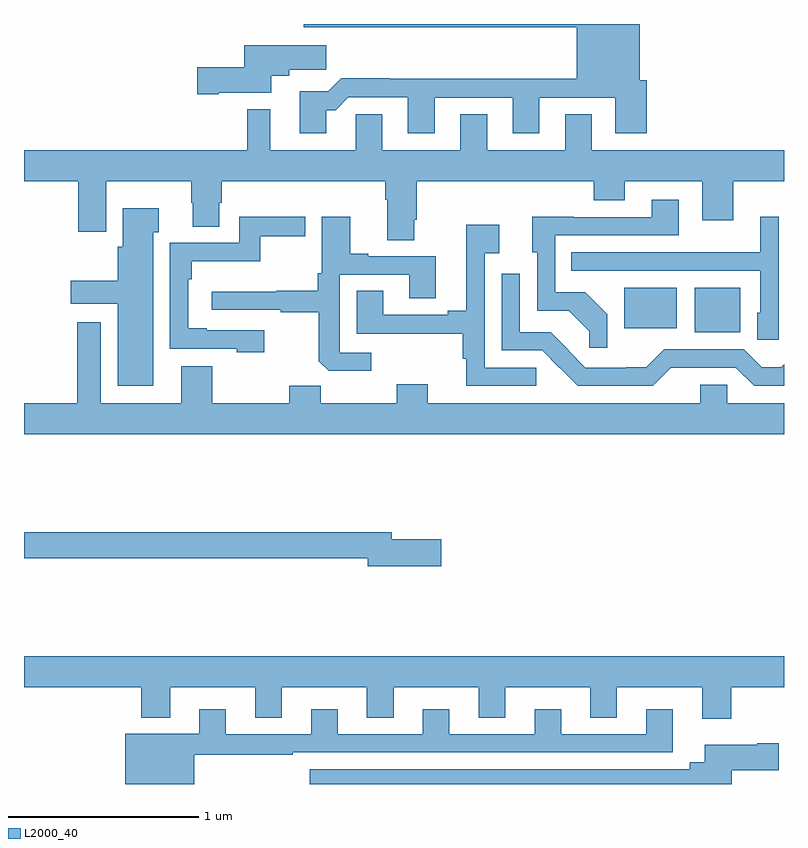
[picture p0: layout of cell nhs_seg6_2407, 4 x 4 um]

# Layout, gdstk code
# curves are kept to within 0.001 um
import gdstk
lib = gdstk.Library(unit=1e-6, precision=1e-09)
def R(c, l, rs):  # rectangles x0, y0, x1, y1
    for r in rs: c.add(gdstk.rectangle(r[:2], r[2:], *l))
def P(c, l, *ps):  # polygons
    for p in ps: c.add(gdstk.Polygon(p, *l))
L2000_40 = (2000, 40)

nhs_seg6_2407 = lib.new_cell('nhs_seg6_2407')
R(nhs_seg6_2407, L2000_40, [(258.53,943.877,258.769,944.113), (258.158,943.898,258.436,944.113)])
P(nhs_seg6_2407, L2000_40, [(256.591,945.047),(256.64,945.047),(256.707,945.114),(257.021,945.114),(257.021,944.925),(257.161,944.925),(257.161,945.111),(257.573,945.111),(257.573,944.925),(257.713,944.925),(257.713,945.111),(258.113,945.111),(258.113,944.925),(258.278,944.925),(258.278,945.204),(258.241,945.204),(258.241,945.5),(256.472,945.5),(256.472,945.482),(257.909,945.482),(257.909,945.212),(256.925,945.212),(256.925,945.215),(256.67,945.215),(256.6,945.145),(256.451,945.145),(256.451,944.925),(256.591,944.925)],
  [(256.024,945.137),(256.3,945.137),(256.3,945.227),(256.396,945.227),(256.396,945.259),(256.591,945.259),(256.591,945.388),(256.16,945.388),(256.16,945.272),(255.912,945.272),(255.912,945.13),(256.024,945.13)],
  [(257.999,944.573),(258.163,944.573),(258.163,944.672),(258.569,944.672),(258.569,944.466),(258.733,944.466),(258.733,944.672),(259,944.672),(259,944.836),(257.989,944.836),(257.989,945.026),(257.849,945.026),(257.849,944.836),(257.437,944.836),(257.437,945.026),(257.297,945.026),(257.297,944.836),(256.885,944.836),(256.885,945.026),(256.746,945.026),(256.746,944.836),(256.297,944.836),(256.297,945.052),(256.176,945.052),(256.176,944.836),(255,944.836),(255,944.672),(255.286,944.672),(255.286,944.406),(255.433,944.406),(255.433,944.672),(255.88,944.672),(255.88,944.559),(255.887,944.559),(255.887,944.434),(256.027,944.434),(256.027,944.559),(256.04,944.559),(256.04,944.672),(256.901,944.672),(256.901,944.576),(256.913,944.576),(256.913,944.362),(257.053,944.362),(257.053,944.47),(257.066,944.47),(257.066,944.672),(257.999,944.672)],
  [(258.069,943.972),(257.953,944.088),(257.796,944.088),(257.796,944.388),(258.445,944.388),(258.445,944.575),(258.305,944.575),(258.305,944.484),(257.893,944.484),(257.893,944.486),(257.675,944.486),(257.675,944.298),(257.7,944.298),(257.7,943.992),(257.866,943.992),(257.974,943.884),(257.974,943.797),(258.069,943.797)],
  [(255.679,944.405),(255.709,944.405),(255.709,944.53),(255.521,944.53),(255.521,944.328),(255.494,944.328),(255.494,944.149),(255.246,944.149),(255.246,944.027),(255.494,944.027),(255.494,943.595),(255.679,943.595)],
  [(256.264,943.887),(255.961,943.887),(255.961,943.9),(255.864,943.9),(255.864,944.156),(255.884,944.156),(255.884,944.252),(256.243,944.252),(256.243,944.383),(256.48,944.383),(256.48,944.486),(256.134,944.486),(256.134,944.349),(255.768,944.349),(255.768,943.791),(256.119,943.791),(256.119,943.772),(256.264,943.772)],
  [(258.972,944.485),(258.875,944.485),(258.875,944.299),(258.541,944.299),(258.541,944.298),(257.881,944.298),(257.881,944.202),(258.876,944.202),(258.876,943.98),(258.86,943.98),(258.86,943.837),(258.972,943.837)],
  [(256.828,943.77),(256.662,943.77),(256.662,944.181),(257.027,944.181),(257.027,944.056),(257.167,944.056),(257.167,944.277),(256.813,944.277),(256.813,944.29),(256.717,944.29),(256.717,944.485),(256.566,944.485),(256.566,944.188),(256.546,944.188),(256.546,944.096),(256.327,944.096),(256.327,944.092),(255.987,944.092),(255.987,943.995),(256.351,943.995),(256.351,943.983),(256.551,943.983),(256.551,943.725),(256.603,943.674),(256.828,943.674)],
  [(257.697,943.692),(257.424,943.692),(257.424,944.294),(257.5,944.294),(257.5,944.443),(257.327,944.443),(257.327,943.991),(257.231,943.991),(257.231,943.971),(256.891,943.971),(256.891,944.096),(256.751,944.096),(256.751,943.87),(257.308,943.87),(257.308,943.739),(257.327,943.739),(257.327,943.596),(257.697,943.596)],
  [(258.404,943.691),(258.747,943.692),(258.843,943.596),(259,943.596),(259,943.708),(258.985,943.693),(258.884,943.693),(258.789,943.788),(258.369,943.788),(258.275,943.694),(258.17,943.694),(258.17,943.692),(257.955,943.692),(257.865,943.782),(257.867,943.784),(257.773,943.878),(257.61,943.878),(257.61,944.185),(257.514,944.185),(257.514,943.782),(257.727,943.782),(257.915,943.596),(258.309,943.596)],
  [(259,943.504),(258.702,943.504),(258.702,943.602),(258.56,943.602),(258.56,943.504),(257.125,943.504),(257.125,943.603),(256.961,943.603),(256.961,943.504),(256.561,943.504),(256.561,943.597),(256.397,943.597),(256.397,943.504),(255.991,943.504),(255.991,943.699),(255.827,943.699),(255.827,943.504),(255.403,943.504),(255.403,943.93),(255.28,943.93),(255.28,943.504),(255,943.504),(255,943.34),(259,943.34)],
  [(257.197,942.788),(256.936,942.788),(256.936,942.824),(255,942.824),(255,942.688),(256.808,942.688),(256.808,942.646),(257.197,942.646)],
  [(258.722,942.008),(259,942.008),(259,942.172),(255,942.172),(255,942.008),(255.617,942.008),(255.617,941.849),(255.769,941.849),(255.769,942.008),(256.217,942.008),(256.217,941.848),(256.357,941.848),(256.357,942.008),(256.805,942.008),(256.805,941.848),(256.945,941.848),(256.945,942.008),(257.393,942.008),(257.393,941.848),(257.533,941.848),(257.533,942.008),(257.981,942.008),(257.981,941.848),(258.121,941.848),(258.121,942.008),(258.569,942.008),(258.569,941.844),(258.722,941.844)],
  [(255.895,941.655),(256.415,941.655),(256.415,941.667),(258.415,941.667),(258.415,941.893),(258.275,941.893),(258.275,941.763),(257.827,941.763),(257.827,941.893),(257.687,941.893),(257.687,941.763),(257.239,941.763),(257.239,941.893),(257.099,941.893),(257.099,941.763),(256.651,941.763),(256.651,941.893),(256.511,941.893),(256.511,941.763),(256.063,941.763),(256.063,941.893),(255.923,941.893),(255.923,941.764),(255.533,941.764),(255.533,941.5),(255.895,941.5)],
  [(258.724,941.573),(258.973,941.573),(258.973,941.715),(258.86,941.715),(258.86,941.707),(258.584,941.707),(258.584,941.614),(258.503,941.614),(258.503,941.578),(256.503,941.578),(256.503,941.5),(258.724,941.5)])

lib.write_gds('nhs_seg6_2407.gds')
